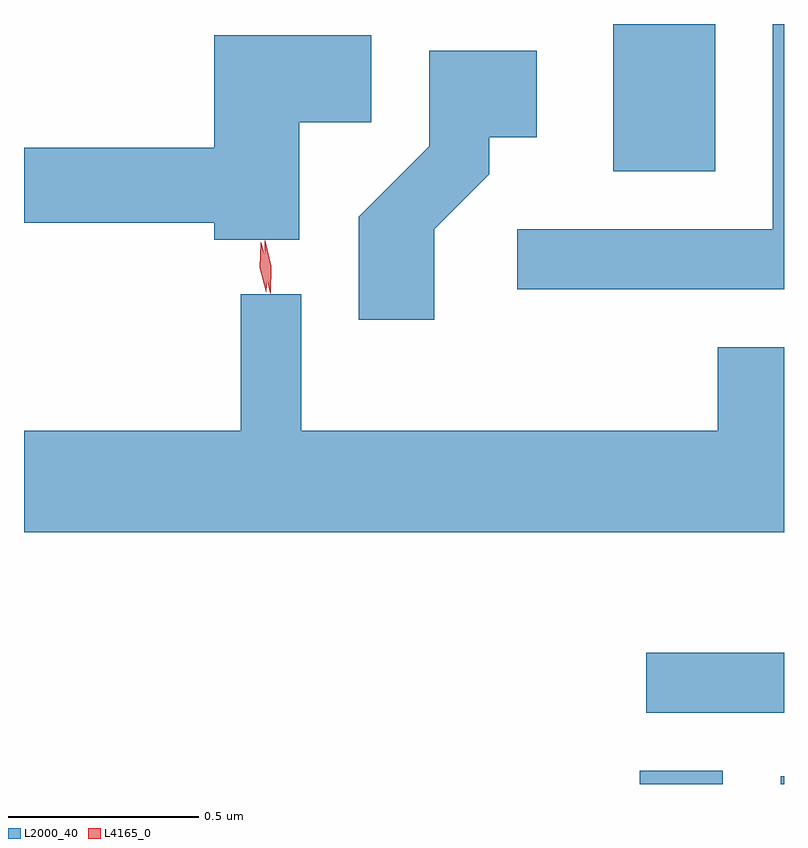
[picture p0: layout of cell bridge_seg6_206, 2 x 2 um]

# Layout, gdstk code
import gdstk
lib = gdstk.Library(unit=1e-6, precision=1e-09)
def R(c, l, rs):  # rectangles x0, y0, x1, y1
    for r in rs: c.add(gdstk.rectangle(r[:2], r[2:], *l))
def P(c, l, *ps):  # polygons
    for p in ps: c.add(gdstk.Polygon(p, *l))
L2000_40 = (2000, 40)
L4165_0 = (4165, 0)

bridge_seg6_206 = lib.new_cell('bridge_seg6_206')
R(bridge_seg6_206, L2000_40, [(1027.076,1591.554,1027.294,1591.589), (1027.446,1591.554,1027.455,1591.574), (1027.093,1591.741,1027.455,1591.899), (1027.006,1593.166,1027.274,1593.554)])
P(bridge_seg6_206, L2000_40, [(1027.455,1593.554),(1027.426,1593.554),(1027.426,1593.014),(1026.753,1593.014),(1026.753,1592.856),(1027.455,1592.856)],
  [(1026.179,1593.296),(1026.369,1593.296),(1026.369,1593.524),(1025.956,1593.524),(1025.956,1593.229),(1025.455,1593.229),(1025.455,1593.031),(1025.956,1593.031),(1025.956,1592.986),(1026.179,1592.986)],
  [(1026.534,1593.014),(1026.679,1593.159),(1026.679,1593.256),(1026.804,1593.256),(1026.804,1593.484),(1026.521,1593.484),(1026.521,1593.232),(1026.336,1593.047),(1026.336,1592.776),(1026.534,1592.776)],
  [(1027.455,1592.704),(1027.281,1592.704),(1027.281,1592.484),(1026.184,1592.484),(1026.184,1592.843),(1026.026,1592.843),(1026.026,1592.484),(1025.455,1592.484),(1025.455,1592.216),(1027.455,1592.216)])
P(bridge_seg6_206, L4165_0, [(1026.103,1592.846),(1026.103,1592.846),(1026.087,1592.914),(1026.089,1592.983),(1026.09,1592.984),(1026.09,1592.983),(1026.106,1592.916),(1026.104,1592.846)],
  [(1026.092,1592.848),(1026.076,1592.913),(1026.078,1592.979),(1026.078,1592.98),(1026.079,1592.979),(1026.096,1592.915),(1026.093,1592.848),(1026.093,1592.848)])

lib.write_gds('bridge_seg6_206.gds')
